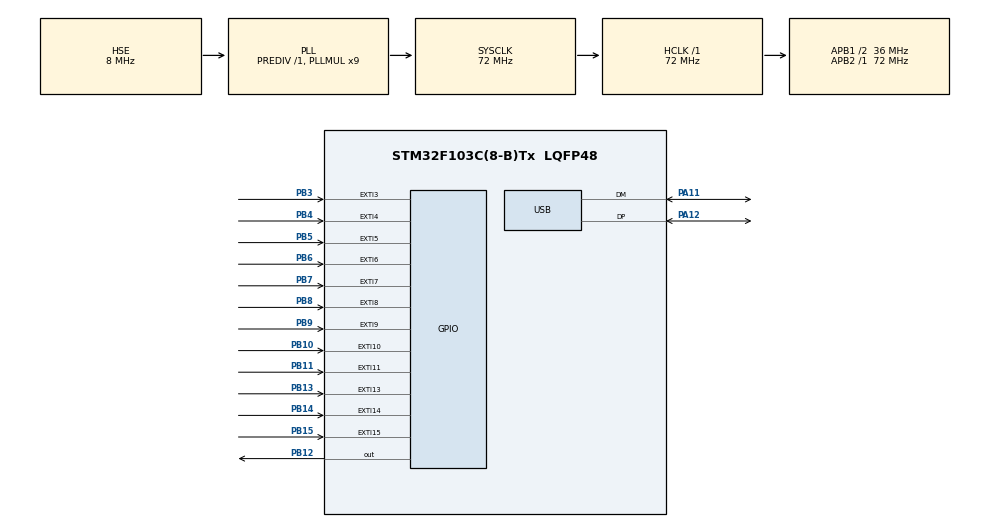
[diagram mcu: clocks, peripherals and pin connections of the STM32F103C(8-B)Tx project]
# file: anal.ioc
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Mcu.Family=STM32F1
USB_DEVICE.CLASS_NAME_FS=CDC
PB10.GPIO_PuPd=GPIO_PULLDOWN
TIM1.RepetitionCounter=0
PB6.GPIO_ModeDefaultEXTI=GPIO_MODE_IT_RISING_FALLING
PA11.Mode=Device
NVIC.TIM1_UP_IRQn=true\:0\:0\:false\:false\:true\:true\:true
PB11.GPIO_PuPd=GPIO_PULLDOWN
PB7.GPIO_ModeDefaultEXTI=GPIO_MODE_IT_RISING_FALLING
PB11.Signal=GPXTI11
PB13.Signal=GPXTI13
PB15.Signal=GPXTI15
RCC.SYSCLKSource=RCC_SYSCLKSOURCE_PLLCLK
ProjectManager.StackSize=0x400
PD1-OSC_OUT.Signal=RCC_OSC_OUT
PA12.Signal=USB_DP
TIM1.Prescaler=1
PB8.GPIO_ModeDefaultEXTI=GPIO_MODE_IT_RISING_FALLING
RCC.HCLKFreq_Value=72000000
RCC.APB2TimFreq_Value=72000000
PB6.Signal=GPXTI6
PB12.PinState=GPIO_PIN_SET
PB9.GPIO_ModeDefaultEXTI=GPIO_MODE_IT_RISING_FALLING
RCC.AHBFreq_Value=72000000
NVIC.EXTI15_10_IRQn=true\:0\:0\:false\:false\:true\:true\:true
RCC.PLLMUL=RCC_PLL_MUL9
PB3.GPIO_PuPd=GPIO_PULLDOWN
PA14.Mode=Serial_Wire
PB7.Signal=GPXTI7
VP_TIM1_VS_ClockSourceINT.Mode=Internal
Mcu.Package=LQFP48
PB9.Signal=GPXTI9
PB14.GPIO_PuPd=GPIO_PULLDOWN
PB15.GPIO_PuPd=GPIO_PULLDOWN
PB11.GPIO_ModeDefaultEXTI=GPIO_MODE_IT_RISING_FALLING
PB9.GPIO_PuPd=GPIO_PULLDOWN
RCC.APB1TimFreq_Value=72000000
TIM1.Period=35999
PB4.Signal=GPXTI4
PB7.GPIO_PuPd=GPIO_PULLDOWN
PD1-OSC_OUT.Mode=HSE-External-Oscillator
USB_DEVICE.VirtualModeFS=Cdc_FS
PB6.GPIO_PuPd=GPIO_PULLDOWN
PB8.GPIO_PuPd=GPIO_PULLDOWN
RCC.USBPrescaler=RCC_USBCLKSOURCE_PLL_DIV1_5
PD0-OSC_IN.Signal=RCC_OSC_IN
RCC.APB1CLKDivider=RCC_HCLK_DIV2
PA13.Signal=SYS_JTMS-SWDIO
ProjectManager.TargetToolchain=STM32CubeIDE
VP_USB_DEVICE_VS_USB_DEVICE_CDC_FS.Mode=CDC_FS
PB4.GPIO_PuPd=GPIO_PULLDOWN
RCC.USBFreq_Value=48000000
PB10.Signal=GPXTI10
PD0-OSC_IN.Mode=HSE-External-Oscillator
PB14.Signal=GPXTI14
board=custom
PB13.GPIO_PuPd=GPIO_PULLDOWN
RCC.APB2Freq_Value=72000000
NVIC.USB_LP_CAN1_RX0_IRQn=true\:0\:0\:false\:false\:true\:false\:true
PA13.Mode=Serial_Wire
PB10.GPIO_ModeDefaultEXTI=GPIO_MODE_IT_RISING_FALLING
Mcu.Name=STM32F103C(8-B)Tx
PB3.Signal=GPXTI3
RCC.SYSCLKFreq_VALUE=72000000
PB5.Signal=GPXTI5
PA12.Mode=Device
PB5.GPIO_PuPd=GPIO_PULLDOWN
PA11.Signal=USB_DM
NVIC.EXTI9_5_IRQn=true\:0\:0\:false\:false\:true\:true\:true
PA14.Signal=SYS_JTCK-SWCLK
ProjectManager.HeapSize=0x200
NVIC.PriorityGroup=NVIC_PRIORITYGROUP_4
PB8.Signal=GPXTI8
RCC.APB1Freq_Value=36000000
USB_DEVICE.VirtualMode=Cdc
PB12.Signal=GPIO_Output

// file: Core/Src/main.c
/* USER CODE BEGIN Header */
/**
  ******************************************************************************
  * @file           : main.c
  * @brief          : Main program body
  ******************************************************************************
  * @attention
  *
  * <h2><center>&copy; Copyright (c) 2021 STMicroelectronics.
  * All rights reserved.</center></h2>
  *
  * This software component is licensed by ST under BSD 3-Clause license,
  * the "License"; You may not use this file except in compliance with the
  * License. You may obtain a copy of the License at:
  *                        opensource.org/licenses/BSD-3-Clause
  *
  ******************************************************************************
  */
/* USER CODE END Header */
#include "main.h"
#include "usb_device.h"

/* USER CODE BEGIN Includes */
#include "usbd_cdc_if.h"
/* USER CODE END Includes */

TIM_HandleTypeDef htim1;

/* USER CODE BEGIN PV */
struct Switch{
	uint32_t millisecond;
	uint16_t ticks;
	uint16_t state;
};

uint32_t milliseconds = 0;

#define SIZE 1024

struct Switch buffer[SIZE];

struct Switch* start = buffer;
struct Switch* wr;
struct Switch* rd;
struct Switch* end;

/* USER CODE END PV */

void SystemClock_Config(void);
static void MX_GPIO_Init(void);
static void MX_TIM1_Init(void);

/* USER CODE BEGIN 0 */
void addState(){
	wr->millisecond = milliseconds;
	wr->ticks = htim1.Instance->CNT;
	wr->state = GPIOB->IDR;
	wr++;
	if (wr >= end){
		wr = start;
	}
	if (wr == rd){
		rd++;
		if(rd >= end){
			rd = start;
		}
	}
}
/* USER CODE END 0 */

int main(void)
{

  /* MCU Configuration--------------------------------------------------------*/

  /* Reset of all peripherals, Initializes the Flash interface and the Systick. */
  HAL_Init();

  /* Configure the system clock */
  SystemClock_Config();

  /* Initialize all configured peripherals */
  MX_GPIO_Init();
  MX_USB_DEVICE_Init();
  MX_TIM1_Init();

  /* Infinite loop */
  /* USER CODE BEGIN WHILE */
  end = start + SIZE;
  rd = start;
  wr = start;
  HAL_TIM_Base_Start_IT(&htim1);
  HAL_TIM_Base_Start(&htim1);
  while (1)
  {
	  if (rd != wr){
		  HAL_GPIO_WritePin(GPIOB, GPIO_PIN_12, GPIO_PIN_RESET);
		  while(rd != wr) {
			  struct Switch* transmit = wr;
			  if (rd > transmit) {
				  CDC_Transmit_FS((uint8_t*)rd, (end - rd) * sizeof(struct Switch));
				  rd = start;
			  }
			  CDC_Transmit_FS((uint8_t*)rd, (transmit - rd) * sizeof(struct Switch));
			  rd = transmit;
		  }

	  }
	  HAL_GPIO_WritePin(GPIOB, GPIO_PIN_12, GPIO_PIN_SET);
	  HAL_Delay(1);
    /* USER CODE END WHILE */

  }
}

void SystemClock_Config(void)
{
  RCC_OscInitTypeDef RCC_OscInitStruct = {0};
  RCC_ClkInitTypeDef RCC_ClkInitStruct = {0};
  RCC_PeriphCLKInitTypeDef PeriphClkInit = {0};

  /** Initializes the RCC Oscillators according to the specified parameters
  * in the RCC_OscInitTypeDef structure.
  */
  RCC_OscInitStruct.OscillatorType = RCC_OSCILLATORTYPE_HSE;
  RCC_OscInitStruct.HSEState = RCC_HSE_ON;
  RCC_OscInitStruct.HSEPredivValue = RCC_HSE_PREDIV_DIV1;
  RCC_OscInitStruct.HSIState = RCC_HSI_ON;
  RCC_OscInitStruct.PLL.PLLState = RCC_PLL_ON;
  RCC_OscInitStruct.PLL.PLLSource = RCC_PLLSOURCE_HSE;
  RCC_OscInitStruct.PLL.PLLMUL = RCC_PLL_MUL9;
  if (HAL_RCC_OscConfig(&RCC_OscInitStruct) != HAL_OK)
  {
    Error_Handler();
  }
  /** Initializes the CPU, AHB and APB buses clocks
  */
  RCC_ClkInitStruct.ClockType = RCC_CLOCKTYPE_HCLK|RCC_CLOCKTYPE_SYSCLK
                              |RCC_CLOCKTYPE_PCLK1|RCC_CLOCKTYPE_PCLK2;
  RCC_ClkInitStruct.SYSCLKSource = RCC_SYSCLKSOURCE_PLLCLK;
  RCC_ClkInitStruct.AHBCLKDivider = RCC_SYSCLK_DIV1;
  RCC_ClkInitStruct.APB1CLKDivider = RCC_HCLK_DIV2;
  RCC_ClkInitStruct.APB2CLKDivider = RCC_HCLK_DIV1;

  if (HAL_RCC_ClockConfig(&RCC_ClkInitStruct, FLASH_LATENCY_2) != HAL_OK)
  {
    Error_Handler();
  }
  PeriphClkInit.PeriphClockSelection = RCC_PERIPHCLK_USB;
  PeriphClkInit.UsbClockSelection = RCC_USBCLKSOURCE_PLL_DIV1_5;
  if (HAL_RCCEx_PeriphCLKConfig(&PeriphClkInit) != HAL_OK)
  {
    Error_Handler();
  }
}

static void MX_TIM1_Init(void)
{

  TIM_ClockConfigTypeDef sClockSourceConfig = {0};
  TIM_MasterConfigTypeDef sMasterConfig = {0};

  htim1.Instance = TIM1;
  htim1.Init.Prescaler = 1;
  htim1.Init.CounterMode = TIM_COUNTERMODE_UP;
  htim1.Init.Period = 35999;
  htim1.Init.ClockDivision = TIM_CLOCKDIVISION_DIV1;
  htim1.Init.RepetitionCounter = 0;
  htim1.Init.AutoReloadPreload = TIM_AUTORELOAD_PRELOAD_DISABLE;
  if (HAL_TIM_Base_Init(&htim1) != HAL_OK)
  {
    Error_Handler();
  }
  sClockSourceConfig.ClockSource = TIM_CLOCKSOURCE_INTERNAL;
  if (HAL_TIM_ConfigClockSource(&htim1, &sClockSourceConfig) != HAL_OK)
  {
    Error_Handler();
  }
  sMasterConfig.MasterOutputTrigger = TIM_TRGO_RESET;
  sMasterConfig.MasterSlaveMode = TIM_MASTERSLAVEMODE_DISABLE;
  if (HAL_TIMEx_MasterConfigSynchronization(&htim1, &sMasterConfig) != HAL_OK)
  {
    Error_Handler();
  }

}

static void MX_GPIO_Init(void)
{
  GPIO_InitTypeDef GPIO_InitStruct = {0};

  /* GPIO Ports Clock Enable */
  __HAL_RCC_GPIOD_CLK_ENABLE();
  __HAL_RCC_GPIOB_CLK_ENABLE();
  __HAL_RCC_GPIOA_CLK_ENABLE();

  /*Configure GPIO pin Output Level */
  HAL_GPIO_WritePin(GPIOB, GPIO_PIN_12, GPIO_PIN_SET);

  /*Configure GPIO pins : PB10 PB11 PB6 PB7
                           PB8 PB9 */
  GPIO_InitStruct.Pin = GPIO_PIN_10|GPIO_PIN_11|GPIO_PIN_6|GPIO_PIN_7
                          |GPIO_PIN_8|GPIO_PIN_9;
  GPIO_InitStruct.Mode = GPIO_MODE_IT_RISING_FALLING;
  GPIO_InitStruct.Pull = GPIO_PULLDOWN;
  HAL_GPIO_Init(GPIOB, &GPIO_InitStruct);

  /*Configure GPIO pin : PB12 */
  GPIO_InitStruct.Pin = GPIO_PIN_12;
  GPIO_InitStruct.Mode = GPIO_MODE_OUTPUT_PP;
  GPIO_InitStruct.Pull = GPIO_NOPULL;
  GPIO_InitStruct.Speed = GPIO_SPEED_FREQ_LOW;
  HAL_GPIO_Init(GPIOB, &GPIO_InitStruct);

  /*Configure GPIO pins : PB13 PB14 PB15 PB3
                           PB4 PB5 */
  GPIO_InitStruct.Pin = GPIO_PIN_13|GPIO_PIN_14|GPIO_PIN_15|GPIO_PIN_3
                          |GPIO_PIN_4|GPIO_PIN_5;
  GPIO_InitStruct.Mode = GPIO_MODE_IT_RISING;
  GPIO_InitStruct.Pull = GPIO_PULLDOWN;
  HAL_GPIO_Init(GPIOB, &GPIO_InitStruct);

  /* EXTI interrupt init*/
  HAL_NVIC_SetPriority(EXTI9_5_IRQn, 0, 0);
  HAL_NVIC_EnableIRQ(EXTI9_5_IRQn);

  HAL_NVIC_SetPriority(EXTI15_10_IRQn, 0, 0);
  HAL_NVIC_EnableIRQ(EXTI15_10_IRQn);

}

void Error_Handler(void)
{
  __disable_irq();
  while (1)
  {
  }
}

/************************ (C) COPYRIGHT STMicroelectronics *****END OF FILE****/
